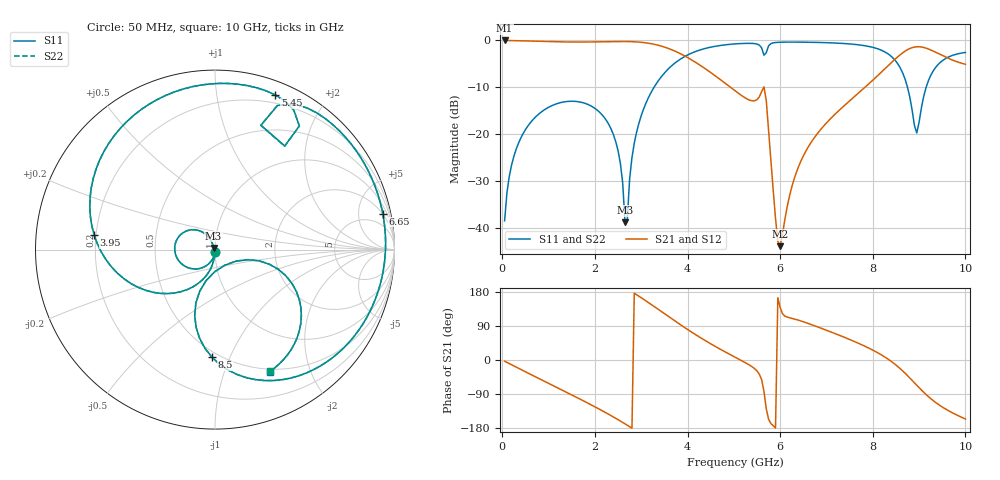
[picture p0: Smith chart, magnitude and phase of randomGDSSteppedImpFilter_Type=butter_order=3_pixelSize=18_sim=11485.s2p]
! freq	dB(S11)	phase(S11)	dB(S12)	phase(S12)
!  dB(S21)	phase(S21)	dB(S22)	phase(S22)
!S-par simulation data
#  GHz  S  DB  R 50
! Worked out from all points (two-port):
!   200 points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, 50 MHz to 10 GHz, reference 50 ohm
!   highest |S21| = -0.01 dB at 50 MHz (marker M1); lowest = -43.9 dB at 6 GHz (marker M2)
!   |S21| within 3 dB of the highest: start of sweep to 3.881 GHz; 8.598 GHz to 9.458 GHz (859.4 MHz wide, 9.52 % of centre)
!   lowest |S11| = -38.8 dB at 2.65 GHz (marker M3), VSWR 1.02, Z = 49.2 + j0.848 ohm
!   |S11| at or under -10 dB: start of sweep to 3.277 GHz; 8.751 GHz to 9.152 GHz (401.5 MHz wide, 4.49 % of centre)
!   |S22| runs from -39.0 to -0.4 dB; largest |S21 - S12| = 0
!   S11 on the Smith chart (normalised r, x): 50 MHz: 1.00, -0.02; 3.95 GHz: 0.19, +0.06; 5.45 GHz: 0.12, +1.46; 6.65 GHz: 1.93, +9.02; 8.5 GHz: 0.46, -0.86; 10 GHz: 0.47, -1.44
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0.05  -38.45 -92.4  -0.01 -3.2  -0.01 -3.2  -38.45 -92.4
0.2  -26.59 -102.4  -0.03 -12.5  -0.03 -12.5  -26.59 -102.4
0.5  -19.02 -121.5  -0.10 -31.1  -0.10 -31.1  -19.02 -121.5
1.75  -13.30 162.0  -0.34 -107.6  -0.34 -107.6  -13.30 162.0
2.4  -20.09 121.2  -0.24 -150.4  -0.24 -150.4  -20.09 121.0
2.55  -26.21 114.0  -0.22 -161.1  -0.22 -161.1  -26.21 113.5
2.65  -38.80 131.5  -0.23 -168.4  -0.23 -168.4  -38.97 129.5
2.9  -19.55 -102.3  -0.32 172.3  -0.32 172.3  -19.56 -102.0
3.4  -8.18 -141.3  -1.11 130.9  -1.11 130.9  -8.18 -141.2
3.95  -3.37 173.0  -3.37 84.6  -3.37 84.6  -3.37 173.0
5.05  -0.72 94.8  -10.92 5.9  -10.92 5.9  -0.72 94.9
5.45  -0.68 68.7  -12.87 -23.0  -12.87 -23.0  -0.68 68.7
5.65  -3.15 56.0  -9.90 -82.6  -9.90 -82.6  -3.17 56.0
6  -0.38 46.6  -43.86 138.7  -43.86 138.7  -0.38 46.6
6.65  -0.39 12.1  -22.02 94.5  -22.02 94.5  -0.39 12.1
6.7  -0.40 9.6  -21.27 92.3  -21.27 92.3  -0.40 9.7
7.55  -0.79 -32.0  -12.45 51.6  -12.45 51.6  -0.79 -32.0
8.35  -3.01 -79.9  -5.21 0.6  -5.21 0.6  -3.01 -79.9
8.5  -4.45 -91.7  -3.83 -13.2  -3.83 -13.2  -4.45 -91.7
8.95  -19.73 -57.6  -1.35 -66.7  -1.35 -66.7  -19.79 -57.6
9.3  -6.58 -23.8  -2.25 -106.7  -2.25 -106.7  -6.59 -23.7
10  -2.56 -65.8  -5.09 -155.6  -5.09 -155.6  -2.56 -65.8
